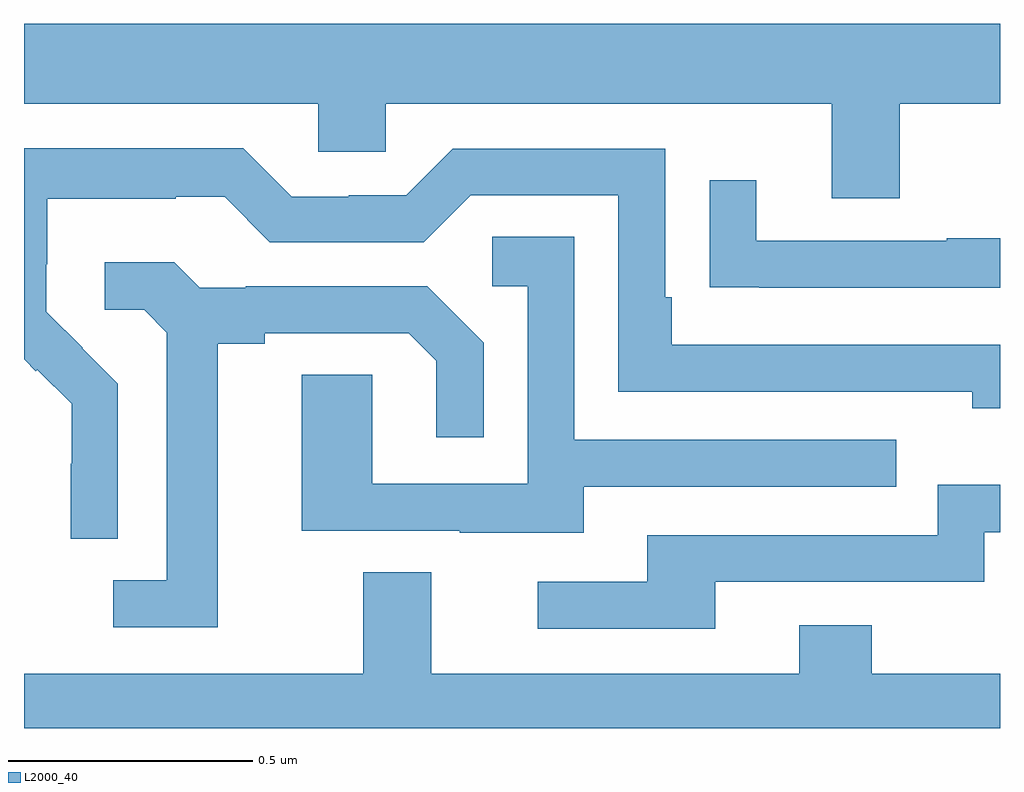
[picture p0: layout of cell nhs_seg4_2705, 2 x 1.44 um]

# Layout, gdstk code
import gdstk
lib = gdstk.Library(unit=1e-6, precision=1e-09)
def P(c, l, *ps):  # polygons
    for p in ps: c.add(gdstk.Polygon(p, *l))
L2000_40 = (2000, 40)

nhs_seg4_2705 = lib.new_cell('nhs_seg4_2705')
P(nhs_seg4_2705, L2000_40, [(145.795,770.18),(146,770.18),(146,770.344),(144,770.344),(144,770.18),(144.603,770.18),(144.603,770.082),(144.741,770.082),(144.741,770.18),(145.655,770.18),(145.655,769.986),(145.795,769.986)],
  [(144.192,769.606),(144.119,769.679),(144.12,769.68),(144.046,769.754),(144.046,769.851),(144.048,769.851),(144.048,769.985),(144.311,769.985),(144.311,769.989),(144.411,769.989),(144.504,769.896),(144.819,769.896),(144.915,769.992),(145.218,769.992),(145.218,769.59),(145.943,769.59),(145.943,769.556),(146,769.556),(146,769.686),(145.327,769.686),(145.327,769.783),(145.314,769.783),(145.314,770.088),(144.879,770.088),(144.783,769.992),(144.665,769.992),(144.665,769.989),(144.549,769.989),(144.449,770.089),(144,770.089),(144,769.656),(144.024,769.632),(144.027,769.635),(144.098,769.565),(144.098,769.442),(144.096,769.442),(144.096,769.288),(144.192,769.288)],
  [(146,769.904),(145.891,769.904),(145.891,769.899),(145.501,769.899),(145.501,770.023),(145.405,770.023),(145.405,769.804),(145.507,769.804),(145.507,769.803),(146,769.803)],
  [(145.147,769.395),(145.787,769.395),(145.787,769.491),(145.128,769.491),(145.128,769.907),(144.96,769.907),(144.96,769.806),(145.032,769.806),(145.032,769.401),(144.714,769.401),(144.714,769.625),(144.569,769.625),(144.569,769.305),(144.893,769.305),(144.893,769.301),(145.147,769.301)],
  [(144.397,769.688),(144.493,769.688),(144.493,769.71),(144.788,769.71),(144.845,769.653),(144.845,769.497),(144.942,769.497),(144.942,769.69),(144.826,769.806),(144.454,769.806),(144.454,769.803),(144.36,769.803),(144.308,769.855),(144.165,769.855),(144.165,769.758),(144.246,769.758),(144.293,769.711),(144.293,769.203),(144.183,769.203),(144.183,769.107),(144.397,769.107)],
  [(145.417,769.2),(145.968,769.2),(145.968,769.302),(146,769.302),(146,769.399),(145.872,769.399),(145.872,769.296),(145.277,769.296),(145.277,769.2),(145.053,769.2),(145.053,769.104),(145.417,769.104)],
  [(144,768.9),(146,768.9),(146,769.012),(145.737,769.012),(145.737,769.111),(145.589,769.111),(145.589,769.012),(144.835,769.012),(144.835,769.22),(144.695,769.22),(144.695,769.012),(144,769.012)])

lib.write_gds('nhs_seg4_2705.gds')
